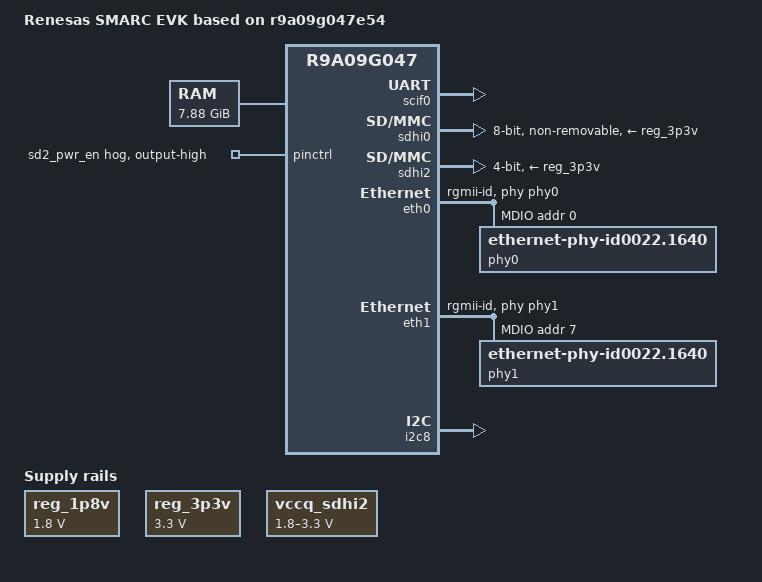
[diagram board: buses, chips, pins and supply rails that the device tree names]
// SPDX-License-Identifier: (GPL-2.0-only OR BSD-2-Clause)
/*
 * Device Tree Source for the RZ/G3E SMARC EVK board
 *
 * Copyright (C) 2023 Renesas Electronics Corp.
 */

/dts-v1/;
#include "r9a09g047.dtsi"
#include "r9a09g047-u-boot.dtsi"
#include <dt-bindings/pinctrl/rzv2h-pinctrl.h>
#include <dt-bindings/gpio/gpio.h>

/ {
	model = "Renesas SMARC EVK based on r9a09g047e54";
	compatible = "renesas,r9a09g047e54-smarc", "renesas,r9a09g047e54", "renesas,r9a09g047";

	aliases {
		serial0 = &scif0;
		mmc0 = &sdhi0;
		mmc1 = &sdhi1;
		mmc2 = &sdhi2;
		ethernet0 = &eth0;
		ethernet1 = &eth1;
		i2c8 = &i2c8;
	};

	chosen {
		bootargs = "ignore_loglevel";
		stdout-path = "serial0:115200n8";
	};

	memory@48000000 {
		device_type = "memory";
		/* first 128MB is reserved for secure area. */
		reg = <0x0 0x48000000 0x1 0xF8000000>;
	};

	reserved-memory {
		#address-cells = <2>;
		#size-cells = <2>;
		ranges;

		global_cma: linux,cma@58000000 {
			compatible = "shared-dma-pool";
			linux,cma-default;
			reusable;
			reg = <0x0 0x58000000 0x0 0x10000000>;
		};
	};

	reg_1p8v: regulator0 {
		compatible = "regulator-fixed";

		regulator-name = "fixed-1.8V";
		regulator-min-microvolt = <1800000>;
		regulator-max-microvolt = <1800000>;
		regulator-boot-on;
		regulator-always-on;
	};

	reg_3p3v: regulator1 {
		compatible = "regulator-fixed";

		regulator-name = "fixed-3.3V";
		regulator-min-microvolt = <3300000>;
		regulator-max-microvolt = <3300000>;
		regulator-boot-on;
		regulator-always-on;
	};

	vccq_sdhi2: regulator-vccq-sdhi2 {
		compatible = "regulator-gpio";

		regulator-name = "SDHI2 VccQ";
		regulator-min-microvolt = <1800000>;
		regulator-max-microvolt = <3300000>;

		gpios-states = <1>;
		states = <3300000 1 1800000 0>;
	};
};

&pinctrl {
	sd2_pwr_en {
		gpio-hog;
		output-high;
		line-name = "sd2_pwr_en";
	};

	sdhi2_pins: sd2 {
		sd2_mux {
			pinmux = <RZV2H_PINMUX(K, 0, 1)>; /* QSD2_CD */
		};

		sd2_data {
			pinmux = <RZV2H_PINMUX(H, 2, 1)>, /* QSD2_DAT0 */
				 <RZV2H_PINMUX(H, 3, 1)>, /* QSD2_DAT1 */
				 <RZV2H_PINMUX(H, 4, 1)>, /* QSD2_DAT2 */
				 <RZV2H_PINMUX(H, 5, 1)>; /* QSD2_DAT3 */
		};

		sd2_ctrl {
			pinmux = <RZV2H_PINMUX(H, 0, 1)>, /* QSD2_CLK */
				 <RZV2H_PINMUX(H, 1, 1)>; /* QSD2_CMD */
		};
	};

	eth0_pins: eth0 {
		pinmux = <RZV2H_PINMUX(A, 1, 1)>, /* MDC */
			 <RZV2H_PINMUX(A, 0, 1)>, /* MDIO */
			 <RZV2H_PINMUX(C, 2, 1)>, /* PHY_INTR */
			 <RZV2H_PINMUX(C, 1, 1)>, /* RXD3 */
			 <RZV2H_PINMUX(C, 0, 1)>, /* RXD2 */
			 <RZV2H_PINMUX(B, 7, 1)>, /* RXD1 */
			 <RZV2H_PINMUX(B, 6, 1)>, /* RXD0 */
			 <RZV2H_PINMUX(B, 0, 1)>, /* RXC */
			 <RZV2H_PINMUX(A, 2, 1)>, /* RX_CTL */
			 <RZV2H_PINMUX(B, 5, 1)>, /* TXD3 */
			 <RZV2H_PINMUX(B, 4, 1)>, /* TXD2 */
			 <RZV2H_PINMUX(B, 3, 1)>, /* TXD1 */
			 <RZV2H_PINMUX(B, 2, 1)>, /* TXD0 */
			 <RZV2H_PINMUX(B, 1, 1)>, /* TXC */
			 <RZV2H_PINMUX(A, 3, 1)>; /* TX_CTL */
	};

	eth1_pins: eth1 {
		pinmux = <RZV2H_PINMUX(D, 1, 1)>, /* MDC */
			 <RZV2H_PINMUX(D, 0, 1)>, /* MDIO */
			 <RZV2H_PINMUX(F, 2, 1)>, /* PHY_INTR */
			 <RZV2H_PINMUX(F, 1, 1)>, /* RXD3 */
			 <RZV2H_PINMUX(F, 0, 1)>, /* RXD2 */
			 <RZV2H_PINMUX(E, 7, 1)>, /* RXD1 */
			 <RZV2H_PINMUX(E, 6, 1)>, /* RXD0 */
			 <RZV2H_PINMUX(E, 0, 1)>, /* RXC */
			 <RZV2H_PINMUX(D, 2, 1)>, /* RX_CTL */
			 <RZV2H_PINMUX(E, 5, 1)>, /* TXD3 */
			 <RZV2H_PINMUX(E, 4, 1)>, /* TXD2 */
			 <RZV2H_PINMUX(E, 3, 1)>, /* TXD1 */
			 <RZV2H_PINMUX(E, 2, 1)>, /* TXD0 */
			 <RZV2H_PINMUX(E, 1, 1)>, /* TXC */
			 <RZV2H_PINMUX(D, 3, 1)>; /* TX_CTL */
	};

	i2c8_pins: i2c8 {
		pinmux = <RZV2H_PINMUX(3, 4, 4)>, /* SCL8 */
			 <RZV2H_PINMUX(3, 5, 4)>; /* SDA8 */
	};
};

&extal_clk {
	clock-frequency = <24000000>;
};

&scif0 {
	status = "okay";
};

&sdhi0 {
	vmmc-supply = <&reg_3p3v>;
	vqmmc-supply = <&reg_1p8v>;
	bus-width = <8>;
	mmc-hs200-1_8v;
	non-removable;
	fixed-emmc-driver-type = <1>;
	status = "okay";
};

&sdhi2 {
	pinctrl-0 = <&sdhi2_pins>;
	pinctrl-names = "default";

	vmmc-supply = <&reg_3p3v>;
	vqmmc-supply = <&vccq_sdhi2>;
	bus-width = <4>;
	sd-uhs-sdr50;
	sd-uhs-sdr104;
	status = "okay";
};

&eth0 {
	phy-handle = <&phy0>;
	phy-mode = "rgmii-id";

	pinctrl-0 = <&eth0_pins>;
	pinctrl-names = "default";
	status = "okay";

	mdio {
		#address-cells = <1>;
		#size-cells = <0>;
		phy0: ethernet-phy@7 {
			compatible = "ethernet-phy-id0022.1640",
					"ethernet-phy-ieee802.3-c22";
			reg = <0>;
			rxc-skew-psec = <1400>;
			txc-skew-psec = <1400>;
			rxdv-skew-psec = <0>;
			txdv-skew-psec = <0>;
			rxd0-skew-psec = <0>;
			rxd1-skew-psec = <0>;
			rxd2-skew-psec = <0>;
			rxd3-skew-psec = <0>;
			txd0-skew-psec = <0>;
			txd1-skew-psec = <0>;
			txd2-skew-psec = <0>;
			txd3-skew-psec = <0>;
		};
	};
};

&eth1 {
	phy-handle = <&phy1>;
	phy-mode = "rgmii-id";

	pinctrl-0 = <&eth1_pins>;
	pinctrl-names = "default";
	status = "okay";

	mdio {
		#address-cells = <1>;
		#size-cells = <0>;
		phy1: ethernet-phy@7 {
			compatible = "ethernet-phy-id0022.1640",
					"ethernet-phy-ieee802.3-c22";
			reg = <7>;
			rxc-skew-psec = <1400>;
			txc-skew-psec = <1400>;
			rxdv-skew-psec = <0>;
			txdv-skew-psec = <0>;
			rxd0-skew-psec = <0>;
			rxd1-skew-psec = <0>;
			rxd2-skew-psec = <0>;
			rxd3-skew-psec = <0>;
			txd0-skew-psec = <0>;
			txd1-skew-psec = <0>;
			txd2-skew-psec = <0>;
			txd3-skew-psec = <0>;
		};
	};
};

&i2c8 {
	pinctrl-0 = <&i2c8_pins>;
	pinctrl-names = "default";

	status = "okay";
};
